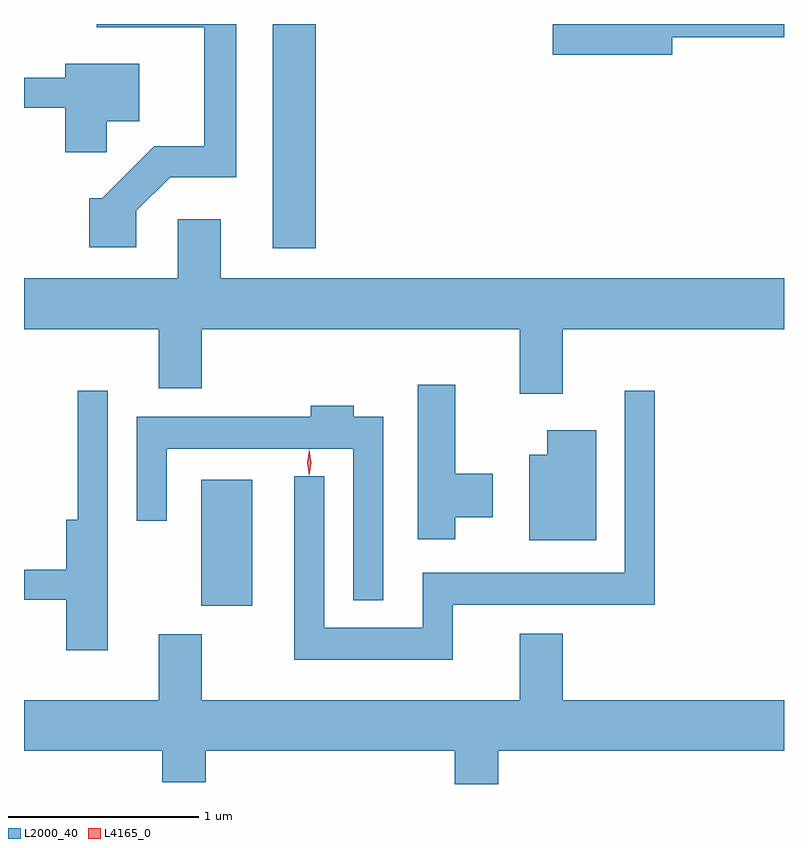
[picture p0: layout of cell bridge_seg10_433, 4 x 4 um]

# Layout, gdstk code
import gdstk
lib = gdstk.Library(unit=1e-6, precision=1e-09)
def R(c, l, rs):  # rectangles x0, y0, x1, y1
    for r in rs: c.add(gdstk.rectangle(r[:2], r[2:], *l))
def P(c, l, *ps):  # polygons
    for p in ps: c.add(gdstk.Polygon(p, *l))
L2000_40 = (2000, 40)
L4165_0 = (4165, 0)

bridge_seg10_433 = lib.new_cell('bridge_seg10_433')
R(bridge_seg10_433, L2000_40, [(1397.046,2096.921,1397.314,2097.584), (1397.421,2098.801,1397.649,2099.982)])
P(bridge_seg10_433, L2000_40, [(1396.704,2098.999),(1396.882,2099.176),(1397.229,2099.176),(1397.229,2099.982),(1396.496,2099.982),(1396.496,2099.966),(1397.061,2099.966),(1397.061,2099.339),(1396.799,2099.339),(1396.524,2099.064),(1396.456,2099.064),(1396.456,2098.806),(1396.704,2098.806)],
  [(1399.524,2099.911),(1400.113,2099.911),(1400.113,2099.982),(1398.896,2099.982),(1398.896,2099.821),(1399.524,2099.821)],
  [(1396.549,2099.471),(1396.719,2099.471),(1396.719,2099.774),(1396.331,2099.774),(1396.331,2099.699),(1396.113,2099.699),(1396.113,2099.541),(1396.331,2099.541),(1396.331,2099.306),(1396.549,2099.306)],
  [(1398.949,2098.376),(1400.113,2098.376),(1400.113,2098.644),(1397.149,2098.644),(1397.149,2098.954),(1396.921,2098.954),(1396.921,2098.644),(1396.113,2098.644),(1396.113,2098.376),(1396.821,2098.376),(1396.821,2098.066),(1397.049,2098.066),(1397.049,2098.376),(1398.721,2098.376),(1398.721,2098.036),(1398.949,2098.036)],
  [(1398.384,2097.386),(1398.579,2097.386),(1398.579,2097.614),(1398.384,2097.614),(1398.384,2098.084),(1398.186,2098.084),(1398.186,2097.271),(1398.384,2097.271)],
  [(1396.554,2098.053),(1396.396,2098.053),(1396.396,2097.374),(1396.336,2097.374),(1396.336,2097.109),(1396.113,2097.109),(1396.113,2096.951),(1396.336,2096.951),(1396.336,2096.686),(1396.554,2096.686)],
  [(1398.369,2096.926),(1399.434,2096.926),(1399.434,2098.053),(1399.276,2098.053),(1399.276,2097.094),(1398.211,2097.094),(1398.211,2096.804),(1397.694,2096.804),(1397.694,2097.603),(1397.536,2097.603),(1397.536,2096.636),(1398.369,2096.636)],
  [(1398.004,2097.914),(1397.849,2097.914),(1397.849,2097.974),(1397.621,2097.974),(1397.621,2097.914),(1396.706,2097.914),(1396.706,2097.368),(1396.864,2097.368),(1396.864,2097.746),(1397.846,2097.746),(1397.846,2096.948),(1398.004,2096.948)],
  [(1399.124,2097.844),(1398.866,2097.844),(1398.866,2097.714),(1398.771,2097.714),(1398.771,2097.266),(1399.124,2097.266)],
  [(1398.721,2096.774),(1398.721,2096.424),(1397.049,2096.424),(1397.049,2096.769),(1396.821,2096.769),(1396.821,2096.424),(1396.113,2096.424),(1396.113,2096.156),(1396.841,2096.156),(1396.841,2095.991),(1397.069,2095.991),(1397.069,2096.156),(1398.381,2096.156),(1398.381,2095.982),(1398.609,2095.982),(1398.609,2096.156),(1400.113,2096.156),(1400.113,2096.424),(1398.949,2096.424),(1398.949,2096.774)])
P(bridge_seg10_433, L4165_0, [(1397.614,2097.607),(1397.614,2097.608),(1397.604,2097.674),(1397.614,2097.74),(1397.614,2097.74),(1397.615,2097.74),(1397.624,2097.674),(1397.615,2097.608)],
  [(1397.613,2097.604),(1397.613,2097.604),(1397.603,2097.673),(1397.613,2097.742),(1397.613,2097.743),(1397.614,2097.742),(1397.623,2097.673),(1397.614,2097.604)])

lib.write_gds('bridge_seg10_433.gds')
